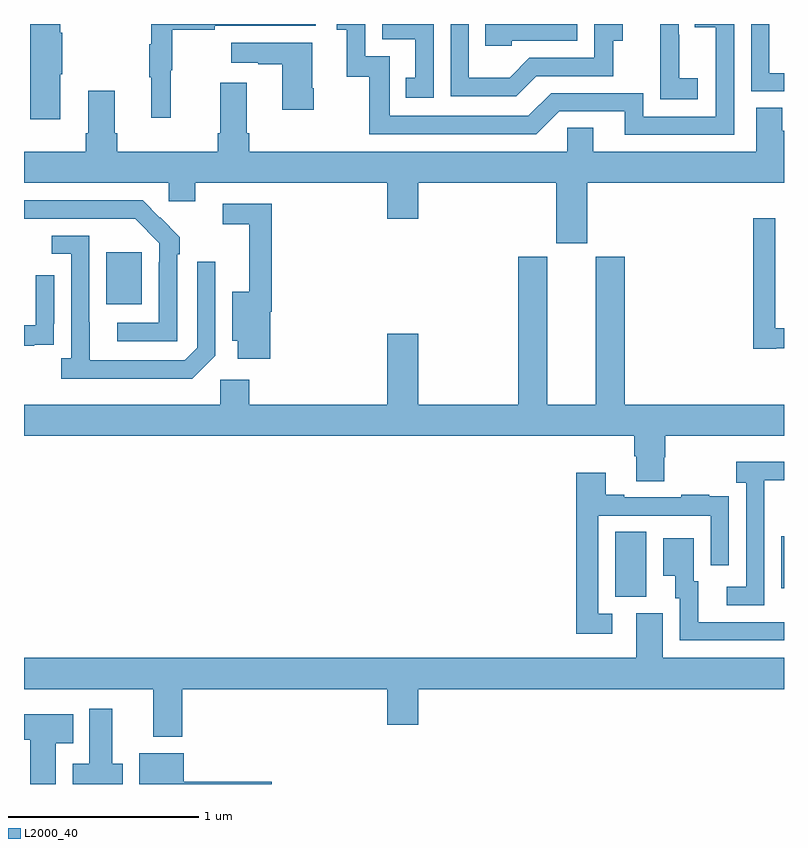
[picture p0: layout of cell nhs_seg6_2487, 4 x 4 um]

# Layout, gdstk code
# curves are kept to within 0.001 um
import gdstk
lib = gdstk.Library(unit=1e-6, precision=1e-09)
def R(c, l, rs):  # rectangles x0, y0, x1, y1
    for r in rs: c.add(gdstk.rectangle(r[:2], r[2:], *l))
def P(c, l, *ps):  # polygons
    for p in ps: c.add(gdstk.Polygon(p, *l))
L2000_40 = (2000, 40)

nhs_seg6_2487 = lib.new_cell('nhs_seg6_2487')
R(nhs_seg6_2487, L2000_40, [(262.112,950.485,262.276,950.828), (262.985,950.529,263,950.803), (259.433,952.025,259.621,952.3)])
P(nhs_seg6_2487, L2000_40, [(261.697,953.226),(262.101,953.226),(262.101,953.411),(262.15,953.411),(262.15,953.5),(262.002,953.5),(262.002,953.322),(261.66,953.322),(261.556,953.218),(261.342,953.218),(261.342,953.5),(261.246,953.5),(261.246,953.121),(261.592,953.121)],
  [(262.546,953.215),(262.448,953.215),(262.448,953.444),(262.446,953.444),(262.446,953.5),(262.349,953.5),(262.349,953.311),(262.348,953.311),(262.348,953.105),(262.546,953.105)],
  [(259.772,953.256),(259.779,953.256),(259.779,953.47),(260.003,953.47),(260.003,953.49),(260.536,953.49),(260.536,953.5),(259.67,953.5),(259.67,953.393),(259.659,953.393),(259.659,953.219),(259.67,953.219),(259.67,953.007),(259.772,953.007)],
  [(263,953.241),(262.923,953.241),(262.923,953.5),(262.827,953.5),(262.827,953.145),(263,953.145)],
  [(261.567,953.412),(261.912,953.412),(261.912,953.5),(261.427,953.5),(261.427,953.385),(261.567,953.385)],
  [(262.737,953.5),(262.531,953.5),(262.531,953.482),(262.641,953.482),(262.641,953.013),(262.26,953.013),(262.26,953.136),(261.774,953.136),(261.654,953.016),(260.925,953.016),(260.925,953.331),(260.796,953.331),(260.796,953.5),(260.646,953.5),(260.646,953.469),(260.699,953.469),(260.699,953.223),(260.817,953.223),(260.817,952.92),(261.696,952.92),(261.816,953.04),(262.163,953.04),(262.163,952.917),(262.737,952.917)],
  [(261.156,953.5),(260.886,953.5),(260.886,953.421),(261.059,953.421),(261.059,953.217),(261.01,953.217),(261.01,953.112),(261.156,953.112)],
  [(259.192,953.236),(259.2,953.236),(259.2,953.453),(259.192,953.453),(259.192,953.5),(259.034,953.5),(259.034,952.998),(259.192,952.998)],
  [(260.526,953.161),(260.518,953.161),(260.518,953.401),(260.091,953.401),(260.091,953.297),(260.234,953.297),(260.234,953.287),(260.36,953.287),(260.36,953.049),(260.526,953.049)],
  [(261.964,952.664),(263,952.664),(263,952.937),(262.992,952.937),(262.992,953.06),(262.853,953.06),(262.853,952.828),(261.997,952.828),(261.997,952.955),(261.858,952.955),(261.858,952.828),(260.186,952.828),(260.186,952.924),(260.173,952.924),(260.173,953.191),(260.033,953.191),(260.033,952.924),(260.021,952.924),(260.021,952.828),(259.49,952.828),(259.49,952.924),(259.477,952.924),(259.477,953.149),(259.337,953.149),(259.337,952.924),(259.325,952.924),(259.325,952.828),(259,952.828),(259,952.664),(259.761,952.664),(259.761,952.566),(259.9,952.566),(259.9,952.664),(260.912,952.664),(260.912,952.476),(261.076,952.476),(261.076,952.664),(261.8,952.664),(261.8,952.347),(261.964,952.347)],
  [(259.806,952.289),(259.821,952.289),(259.821,952.377),(259.624,952.572),(259,952.572),(259,952.476),(259.585,952.476),(259.713,952.347),(259.713,952.247),(259.71,952.247),(259.71,951.927),(259.491,951.927),(259.491,951.831),(259.806,951.831)],
  [(260.297,951.986),(260.303,951.986),(260.303,952.554),(260.046,952.554),(260.046,952.446),(260.186,952.446),(260.186,952.09),(260.096,952.09),(260.096,951.833),(260.126,951.833),(260.126,951.738),(260.297,951.738)],
  [(262.96,951.794),(263,951.794),(263,951.898),(262.953,951.898),(262.953,952.477),(262.837,952.477),(262.837,951.792),(262.96,951.792)],
  [(260.007,951.753),(260.007,952.249),(259.911,952.249),(259.911,951.795),(259.845,951.729),(259.345,951.729),(259.344,952.386),(259.146,952.386),(259.146,952.29),(259.248,952.29),(259.248,951.742),(259.197,951.742),(259.197,951.632),(259.886,951.632)],
  [(262.371,951.219),(262.376,951.219),(262.376,951.332),(263,951.332),(263,951.496),(262.163,951.496),(262.163,952.275),(262.01,952.275),(262.01,951.496),(261.754,951.496),(261.754,952.275),(261.602,952.275),(261.602,951.496),(261.076,951.496),(261.076,951.871),(260.912,951.871),(260.912,951.496),(260.186,951.496),(260.186,951.628),(260.034,951.628),(260.034,951.496),(259,951.496),(259,951.332),(262.211,951.332),(262.211,951.226),(262.223,951.226),(262.223,951.094),(262.371,951.094)],
  [(259.055,951.813),(259.157,951.813),(259.157,951.922),(259.158,951.922),(259.158,952.177),(259.062,952.177),(259.062,951.915),(259,951.915),(259,951.807),(259.055,951.807)],
  [(262.896,950.899),(262.897,950.899),(262.897,951.099),(263,951.099),(263,951.196),(262.749,951.196),(262.749,951.086),(262.8,951.086),(262.8,950.538),(262.698,950.538),(262.698,950.442),(262.896,950.442)],
  [(262.096,950.397),(262.023,950.397),(262.023,950.913),(262.614,950.913),(262.614,950.652),(262.71,950.652),(262.71,950.906),(262.709,950.906),(262.709,951.015),(262.607,951.015),(262.607,951.022),(262.459,951.022),(262.459,951.009),(262.159,951.009),(262.159,951.022),(262.063,951.022),(262.063,951.139),(261.907,951.139),(261.907,950.292),(262.096,950.292)],
  [(263,950.352),(262.549,950.352),(262.549,950.568),(262.525,950.568),(262.525,950.794),(262.364,950.794),(262.364,950.597),(262.427,950.597),(262.427,950.478),(262.452,950.478),(262.452,950.256),(263,950.256)],
  [(259.832,950),(260.912,950),(260.912,949.812),(261.076,949.812),(261.076,950),(263,950),(263,950.164),(262.363,950.164),(262.363,950.4),(262.223,950.4),(262.223,950.164),(259,950.164),(259,950),(259.679,950),(259.679,949.748),(259.832,949.748)],
  [(259.519,949.606),(259.465,949.606),(259.465,949.897),(259.343,949.897),(259.343,949.606),(259.256,949.606),(259.256,949.5),(259.519,949.5)],
  [(259.168,949.715),(259.258,949.715),(259.258,949.867),(259,949.867),(259,949.733),(259.034,949.733),(259.034,949.5),(259.168,949.5)],
  [(260.305,949.511),(259.84,949.511),(259.84,949.663),(259.607,949.663),(259.607,949.5),(260.305,949.5)])

lib.write_gds('nhs_seg6_2487.gds')
